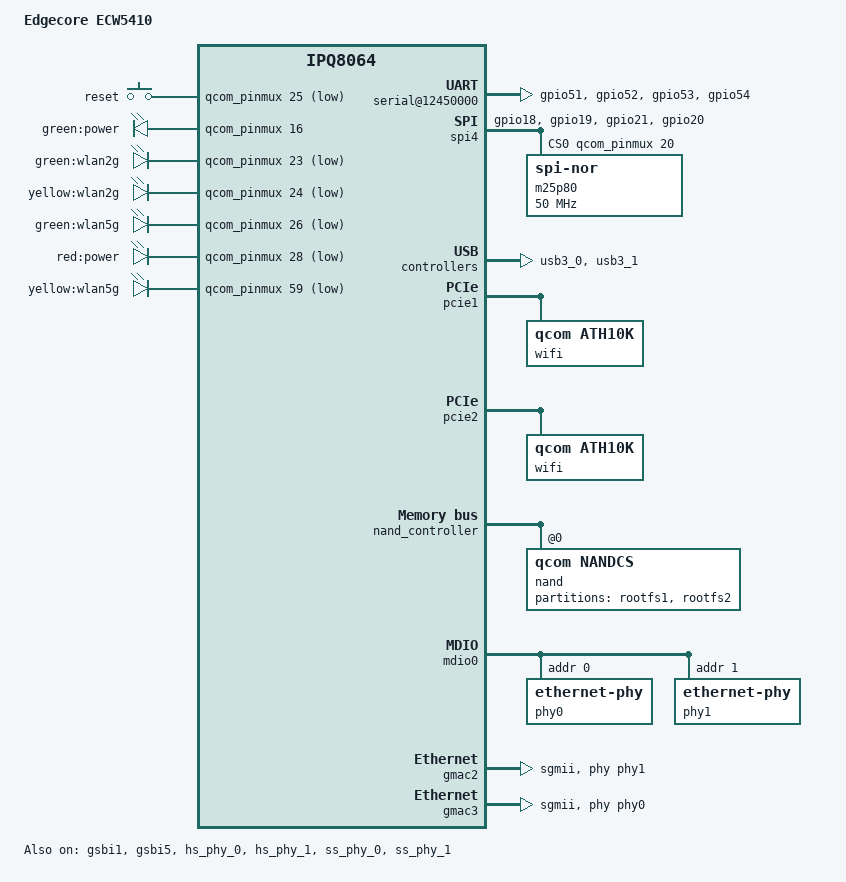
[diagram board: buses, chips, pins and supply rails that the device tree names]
#include "qcom-ipq8064-v2.0.dtsi"

#include <dt-bindings/input/input.h>
#include <dt-bindings/soc/qcom,tcsr.h>

/ {
	model = "Edgecore ECW5410";
	compatible = "edgecore,ecw5410", "qcom,ipq8064";

	reserved-memory {
		nss@40000000 {
			reg = <0x40000000 0x1000000>;
			no-map;
		};

		smem: smem@41000000 {
			reg = <0x41000000 0x200000>;
			no-map;
		};

		wifi_dump@44000000 {
			reg = <0x44000000 0x600000>;
			no-map;
		};
	};

	cpus {
		idle-states {
			CPU_SPC: spc {
				status = "disabled";
			};
		};
	};

	aliases {
		serial1 = &gsbi1_serial;
		ethernet0 = &gmac2;
		ethernet1 = &gmac3;

		led-boot = &led_power_green;
		led-failsafe = &led_power_red;
		led-running = &led_power_green;
		led-upgrade = &led_power_green;
	};

	chosen {
		bootargs-append = " console=ttyMSM0,115200n8 root=/dev/ubiblock0_1";
	};

	keys {
		compatible = "gpio-keys";
		pinctrl-0 = <&button_pins>;
		pinctrl-names = "default";

		reset {
			label = "reset";
			gpios = <&qcom_pinmux 25 GPIO_ACTIVE_LOW>;
			linux,code = <KEY_RESTART>;
			debounce-interval = <60>;
			wakeup-source;
		};
	};

	leds {
		compatible = "gpio-leds";
		pinctrl-0 = <&led_pins>;
		pinctrl-names = "default";

		led_power_green: power_green {
			label = "green:power";
			gpios = <&qcom_pinmux 16 GPIO_ACTIVE_HIGH>;
		};

		wlan2g_green {
			label = "green:wlan2g";
			gpios = <&qcom_pinmux 23 GPIO_ACTIVE_LOW>;
		};

		wlan2g_yellow {
			label = "yellow:wlan2g";
			gpios = <&qcom_pinmux 24 GPIO_ACTIVE_LOW>;
		};

		wlan5g_green {
			label = "green:wlan5g";
			gpios = <&qcom_pinmux 26 GPIO_ACTIVE_LOW>;
		};

		led_power_red: power_red {
			label = "red:power";
			gpios = <&qcom_pinmux 28 GPIO_ACTIVE_LOW>;
		};

		wlan5g_yellow {
			label = "yellow:wlan5g";
			gpios = <&qcom_pinmux 59 GPIO_ACTIVE_LOW>;
		};
	};
};


&qcom_pinmux {
	spi_pins: spi_pins {
		mux {
			pins = "gpio18", "gpio19";
			function = "gsbi5";
			drive-strength = <10>;
			bias-pull-down;
		};

		clk {
			pins = "gpio21";
			function = "gsbi5";
			drive-strength = <12>;
			bias-pull-down;
		};

		cs {
			pins = "gpio20";
			function = "gpio";
			drive-strength = <10>;
			bias-pull-up;
		};
	};

	led_pins: led_pins {
		mux {
			pins = "gpio16", "gpio23", "gpio24", "gpio26",
				   "gpio28", "gpio59";
			function = "gpio";
			drive-strength = <2>;
			bias-pull-up;
		};
	};

	button_pins: button_pins {
		mux {
			pins = "gpio25";
			function = "gpio";
			drive-strength = <2>;
			bias-pull-up;
		};
	};

	uart1_pins: uart1_pins {
		mux {
			pins = "gpio51", "gpio52", "gpio53", "gpio54";
			function = "gsbi1";
			drive-strength = <12>;
			bias-none;
		};
	};
};

&gsbi1 {
	qcom,mode = <GSBI_PROT_UART_W_FC>;
	status = "okay";

	serial@12450000 {
		status = "okay";

		pinctrl-0 = <&uart1_pins>;
		pinctrl-names = "default";
	};
};

&gsbi5 {
	qcom,mode = <GSBI_PROT_SPI>;
	status = "okay";

	spi4: spi@1a280000 {
		status = "okay";
		spi-max-frequency = <50000000>;

		pinctrl-0 = <&spi_pins>;
		pinctrl-names = "default";

		cs-gpios = <&qcom_pinmux 20 GPIO_ACTIVE_HIGH>;

		m25p80@0 {
			compatible = "jedec,spi-nor";
			#address-cells = <1>;
			#size-cells = <1>;
			spi-max-frequency = <50000000>;
			reg = <0>;

			partitions {
				compatible = "qcom,smem-part";
			};
		};
	};
};

&hs_phy_0 {		/* USB3 port 0 HS phy */
	status = "okay";
};

&hs_phy_1 {		/* USB3 port 1 HS phy */
	status = "okay";
};

&ss_phy_0 {		/* USB3 port 0 SS phy */
	status = "okay";
};

&ss_phy_1 {		/* USB3 port 1 SS phy */
	status = "okay";
};

&usb3_0 {
	status = "okay";
};

&usb3_1 {
	status = "okay";
};

&pcie1 {
	status = "okay";

	/delete-property/ pinctrl-0;
	/delete-property/ pinctrl-names;
	/delete-property/ perst-gpios;

	bridge@0,0 {
		reg = <0x00000000 0 0 0 0>;
		#address-cells = <3>;
		#size-cells = <2>;
		ranges;

		wifi@1,0 {
			compatible = "qcom,ath10k";
			status = "okay";
			reg = <0x00010000 0 0 0 0>;
			qcom,ath10k-calibration-variant = "Edgecore-ECW5410-L";
		};
	};
};

&pcie2 {
	status = "okay";

	/delete-property/ pinctrl-0;
	/delete-property/ pinctrl-names;
	/delete-property/ perst-gpios;

	bridge@0,0 {
		reg = <0x00000000 0 0 0 0>;
		#address-cells = <3>;
		#size-cells = <2>;
		ranges;

		wifi@1,0 {
			compatible = "qcom,ath10k";
			status = "okay";
			reg = <0x00010000 0 0 0 0>;
			qcom,ath10k-calibration-variant = "Edgecore-ECW5410-L";
		};
	};
};

&nand_controller {
	status = "okay";

	pinctrl-0 = <&nand_pins>;
	pinctrl-names = "default";

	nand@0 {
		compatible = "qcom,nandcs";

		reg = <0>;

		nand-ecc-strength = <4>;
		nand-bus-width = <8>;
		nand-ecc-step-size = <512>;

		partitions {
			compatible = "fixed-partitions";
			#address-cells = <1>;
			#size-cells = <1>;

			rootfs1@0 {
				label = "rootfs1";
				reg = <0x0000000 0x4000000>;
			};

			rootfs2@4000000 {
				label = "rootfs2";
				reg = <0x4000000 0x4000000>;
			};
		};
	};
};

&mdio0 {
	status = "okay";

	pinctrl-0 = <&mdio0_pins>;
	pinctrl-names = "default";

	phy0: ethernet-phy@0 {
		reg = <0>;
	};

	phy1: ethernet-phy@1 {
		reg = <1>;
	};
};

&gmac2 {
	status = "okay";

	qcom,id = <2>;
	mdiobus = <&mdio0>;

	phy-mode = "sgmii";
	phy-handle = <&phy1>;
};

&gmac3 {
	status = "okay";

	qcom,id = <3>;
	mdiobus = <&mdio0>;

	phy-mode = "sgmii";
	phy-handle = <&phy0>;
};

&adm_dma {
	status = "okay";
};
